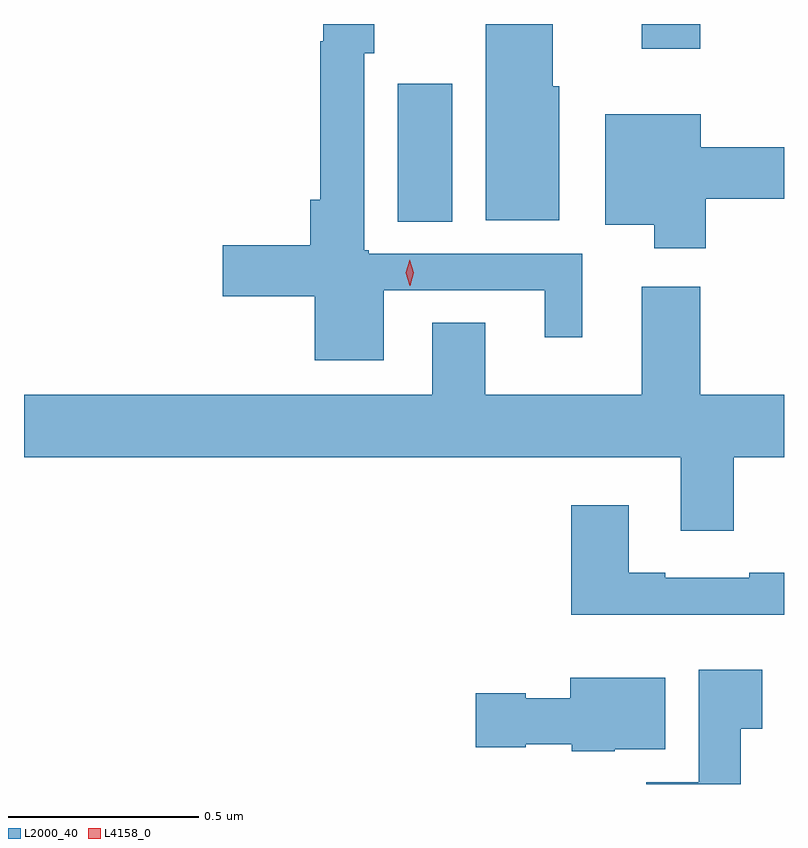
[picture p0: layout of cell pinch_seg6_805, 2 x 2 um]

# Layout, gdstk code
import gdstk
lib = gdstk.Library(unit=1e-6, precision=1e-09)
def R(c, l, rs):  # rectangles x0, y0, x1, y1
    for r in rs: c.add(gdstk.rectangle(r[:2], r[2:], *l))
def P(c, l, *ps):  # polygons
    for p in ps: c.add(gdstk.Polygon(p, *l))
L2000_40 = (2000, 40)
L4158_0 = (4158, 0)

pinch_seg6_805 = lib.new_cell('pinch_seg6_805')
R(pinch_seg6_805, L2000_40, [(313.427,957.28,313.57,957.643), (314.069,957.735,314.222,957.8)])
P(pinch_seg6_805, L2000_40, [(313.39,957.099),(313.814,957.099),(313.814,956.976),(313.912,956.976),(313.912,957.195),(313.35,957.195),(313.35,957.205),(313.338,957.205),(313.338,957.723),(313.365,957.723),(313.365,957.8),(313.23,957.8),(313.23,957.755),(313.222,957.755),(313.222,957.337),(313.196,957.337),(313.196,957.218),(312.966,957.218),(312.966,957.083),(313.208,957.083),(313.208,956.915),(313.39,956.915)],
  [(313.852,957.636),(313.834,957.636),(313.834,957.8),(313.658,957.8),(313.658,957.284),(313.852,957.284)],
  [(314.237,957.34),(314.443,957.34),(314.443,957.476),(314.224,957.476),(314.224,957.562),(313.973,957.562),(313.973,957.272),(314.102,957.272),(314.102,957.21),(314.237,957.21)],
  [(314.311,956.66),(314.443,956.66),(314.443,956.824),(314.222,956.824),(314.222,957.109),(314.069,957.109),(314.069,956.824),(313.657,956.824),(313.657,957.014),(313.517,957.014),(313.517,956.824),(312.443,956.824),(312.443,956.66),(314.171,956.66),(314.171,956.466),(314.311,956.466)],
  [(314.443,956.356),(314.351,956.356),(314.351,956.343),(314.131,956.343),(314.131,956.356),(314.035,956.356),(314.035,956.533),(313.883,956.533),(313.883,956.246),(314.443,956.246)],
  [(314.329,955.945),(314.386,955.945),(314.386,956.101),(314.219,956.101),(314.219,955.804),(314.08,955.804),(314.08,955.8),(314.329,955.8)],
  [(313.998,955.892),(314.131,955.892),(314.131,956.08),(313.88,956.08),(313.88,956.026),(313.764,956.026),(313.764,956.039),(313.632,956.039),(313.632,955.897),(313.764,955.897),(313.764,955.904),(313.884,955.904),(313.884,955.886),(313.998,955.886)])
P(pinch_seg6_805, L4158_0, [(313.458,957.111),(313.458,957.111),(313.448,957.145),(313.458,957.18),(313.458,957.18),(313.458,957.18),(313.468,957.146),(313.459,957.111)])

lib.write_gds('pinch_seg6_805.gds')
